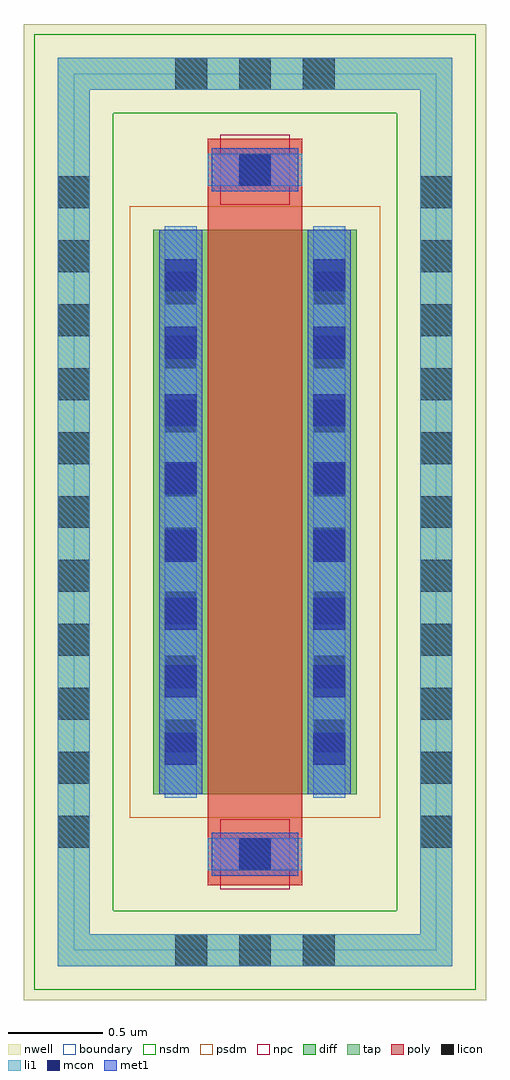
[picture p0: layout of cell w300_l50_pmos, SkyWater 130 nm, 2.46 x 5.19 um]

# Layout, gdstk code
import gdstk
lib = gdstk.Library(unit=1e-6, precision=1e-09)
def R(c, l, rs):  # rectangles x0, y0, x1, y1
    for r in rs: c.add(gdstk.rectangle(r[:2], r[2:], *l))
def A(c, l, x, y, w, h, nx, ny, dx, dy):  # array of equal rectangles
    R(c, l, [(x+i*dx, y+j*dy, x+i*dx+w, y+j*dy+h) for i in range(nx) for j in range(ny)])
nwell = (64, 20)
diff = (65, 20)
tap = (65, 44)
poly = (66, 20)
licon = (66, 44)
li1 = (67, 20)
mcon = (67, 44)
met1 = (68, 20)
nsdm = (93, 44)
psdm = (94, 20)
npc = (95, 20)
boundary = (235, 4)

sky130_fd_pr__pfet_01v8 = lib.new_cell('sky130_fd_pr__pfet_01v8')

w300_l50_pmos = lib.new_cell('w300_l50_pmos')
R(w300_l50_pmos, nwell, [(-1.23,-2.595,1.23,2.595)])
R(w300_l50_pmos, diff, [(-0.54,-1.5,0.54,1.5)])
R(w300_l50_pmos, tap, [(-1.05,-2.415,1.05,-2.245), (-1.05,-2.245,-0.88,2.245), (0.88,-2.245,1.05,2.245), (-1.05,2.245,1.05,2.415)])
R(w300_l50_pmos, poly, [(-0.25,-1.985,0.25,1.985)])
A(w300_l50_pmos, licon, -0.425, -2.415, 0.17, 0.17, 3, 2, 0.34, 4.66)
A(w300_l50_pmos, licon, -1.05, -1.785, 0.17, 0.17, 1, 11, 0, 0.34)
A(w300_l50_pmos, licon, 0.88, -1.785, 0.17, 0.17, 1, 11, 0, 0.34)
A(w300_l50_pmos, licon, -0.48, -1.275, 0.17, 0.17, 1, 8, 0, 0.34)
A(w300_l50_pmos, licon, 0.31, -1.275, 0.17, 0.17, 1, 8, 0, 0.34)
R(w300_l50_pmos, licon, [(-0.085,-1.905,0.085,-1.735), (-0.085,1.735,0.085,1.905)])
R(w300_l50_pmos, li1, [(-1.05,-2.415,1.05,-2.245), (-1.05,-2.245,-0.88,2.245), (0.88,-2.245,1.05,2.245), (-0.25,-1.905,0.25,-1.735), (-0.48,-1.52,-0.31,1.52), (0.31,-1.52,0.48,1.52), (-0.25,1.735,0.25,1.905), (-1.05,2.245,1.05,2.415)])
A(w300_l50_pmos, mcon, -0.48, -1.345, 0.17, 0.17, 1, 8, 0, 0.36)
A(w300_l50_pmos, mcon, 0.31, -1.345, 0.17, 0.17, 1, 8, 0, 0.36)
R(w300_l50_pmos, mcon, [(-0.085,-1.905,0.085,-1.735), (-0.085,1.735,0.085,1.905)])
R(w300_l50_pmos, met1, [(-0.23,-1.935,0.23,-1.705), (-0.51,-1.5,-0.28,1.5), (0.28,-1.5,0.51,1.5), (-0.23,1.705,0.23,1.935)])
R(w300_l50_pmos, nsdm, [(-1.175,-2.54,1.175,-2.12), (-1.175,-2.12,-0.755,2.12), (0.755,-2.12,1.175,2.12), (-1.175,2.12,1.175,2.54)])
R(w300_l50_pmos, psdm, [(-0.665,-1.625,0.665,1.625)])
R(w300_l50_pmos, npc, [(-0.185,-2.005,0.185,-1.635), (-0.185,1.635,0.185,2.005)])
R(w300_l50_pmos, boundary, [(-0.965,-2.33,0.965,2.33)])
w300_l50_pmos.add(gdstk.Reference(sky130_fd_pr__pfet_01v8, (0,0)))

lib.write_gds('w300_l50_pmos.gds')
